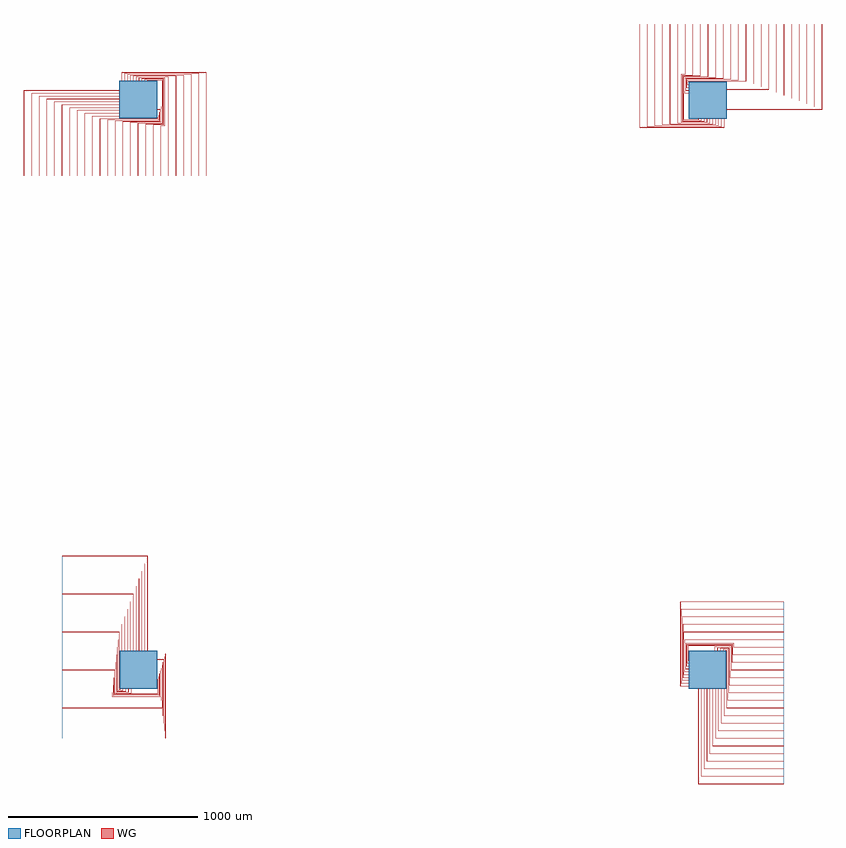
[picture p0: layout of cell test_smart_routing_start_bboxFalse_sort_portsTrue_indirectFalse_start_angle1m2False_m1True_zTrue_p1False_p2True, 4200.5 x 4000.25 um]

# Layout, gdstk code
import gdstk
lib = gdstk.Library(unit=1e-6, precision=1e-09)
def R(c, l, rs):  # rectangles x0, y0, x1, y1
    for r in rs: c.add(gdstk.rectangle(r[:2], r[2:], *l))
def P(c, l, *ps):  # polygons
    for p in ps: c.add(gdstk.Polygon(p, *l))
WG = (1, 0)
FLOORPLAN = (10, 0)

test_smart_routing_start = lib.new_cell('test_smart_routing_start_bboxFalse_sort_portsTrue_indirectFalse_start_angle1m2False_m1True_zTrue_p1False_p2True')
P(test_smart_routing_start, WG, [(-600.25,2600),(-600.25,3050.25),(-100,3050.25),(-100,3049.75),(-599.75,3049.75),(-599.75,2600)],
  [(-560.25,2600),(-560.25,3035.25),(-100,3035.25),(-100,3034.75),(-559.75,3034.75),(-559.75,2600)],
  [(-520.25,2600),(-520.25,3020.25),(-100,3020.25),(-100,3019.75),(-519.75,3019.75),(-519.75,2600)],
  [(-480.25,2600),(-480.25,3005.25),(-100,3005.25),(-100,3004.75),(-479.75,3004.75),(-479.75,2600)],
  [(-440.25,2600),(-440.25,2990.25),(-100,2990.25),(-100,2989.75),(-439.75,2989.75),(-439.75,2600)],
  [(-400.25,2600),(-400.25,2975.25),(-100,2975.25),(-100,2974.75),(-399.75,2974.75),(-399.75,2600)],
  [(-360.25,2600),(-360.25,2960.25),(-100,2960.25),(-100,2959.75),(-359.75,2959.75),(-359.75,2600)],
  [(-320.25,2600),(-320.25,2945.25),(-100,2945.25),(-100,2944.75),(-319.75,2944.75),(-319.75,2600)],
  [(-280.25,2600),(-280.25,2930.25),(-100,2930.25),(-100,2929.75),(-279.75,2929.75),(-279.75,2600)],
  [(-240.25,2600),(-240.25,2915.25),(-100,2915.25),(-100,2914.75),(-239.75,2914.75),(-239.75,2600)],
  [(-200.25,2600),(-200.25,2900.75),(104,2900.75),(104,2904.75),(100,2904.75),(100,2905.25),(104.5,2905.25),(104.5,2900.25),(-199.75,2900.25),(-199.75,2600)],
  [(-160.25,2600),(-160.25,2896.25),(108.5,2896.25),(108.5,2919.75),(100,2919.75),(100,2920.25),(109,2920.25),(109,2895.75),(-159.75,2895.75),(-159.75,2600)],
  [(-120.25,2600),(-120.25,2891.75),(113,2891.75),(113,2934.75),(100,2934.75),(100,2935.25),(113.5,2935.25),(113.5,2891.25),(-119.75,2891.25),(-119.75,2600)],
  [(-80.25,2600),(-80.25,2887.25),(117.5,2887.25),(117.5,2949.75),(100,2949.75),(100,2950.25),(118,2950.25),(118,2886.75),(-79.75,2886.75),(-79.75,2600)],
  [(-40.25,2600),(-40.25,2882.75),(122,2882.75),(122,2964.75),(100,2964.75),(100,2965.25),(122.5,2965.25),(122.5,2882.25),(-39.75,2882.25),(-39.75,2600)],
  [(-0.25,2600),(-0.25,2878.25),(126.5,2878.25),(126.5,3104),(50.25,3104),(50.25,3100),(49.75,3100),(49.75,3104.5),(127,3104.5),(127,2877.75),(0.25,2877.75),(0.25,2600)],
  [(39.75,2600),(39.75,2873.75),(131,2873.75),(131,3108.5),(35.25,3108.5),(35.25,3100),(34.75,3100),(34.75,3109),(131.5,3109),(131.5,2873.25),(40.25,2873.25),(40.25,2600)],
  [(79.75,2600),(79.75,2869.25),(135.5,2869.25),(135.5,3113),(20.25,3113),(20.25,3100),(19.75,3100),(19.75,3113.5),(136,3113.5),(136,2868.75),(80.25,2868.75),(80.25,2600)],
  [(119.75,2600),(119.75,2864.75),(140,2864.75),(140,3117.5),(5.25,3117.5),(5.25,3100),(4.75,3100),(4.75,3118),(140.5,3118),(140.5,2864.25),(120.25,2864.25),(120.25,2600)],
  [(159.75,2600),(159.75,3122),(-9.75,3122),(-9.75,3100),(-10.25,3100),(-10.25,3122.5),(160.25,3122.5),(160.25,2600)],
  [(199.75,2600),(199.75,3126.5),(-24.75,3126.5),(-24.75,3100),(-25.25,3100),(-25.25,3127),(200.25,3127),(200.25,2600)],
  [(239.75,2600),(239.75,3131),(-39.75,3131),(-39.75,3100),(-40.25,3100),(-40.25,3131.5),(240.25,3131.5),(240.25,2600)],
  [(279.75,2600),(279.75,3135.5),(-54.75,3135.5),(-54.75,3100),(-55.25,3100),(-55.25,3136),(280.25,3136),(280.25,2600)],
  [(319.75,2600),(319.75,3140),(-69.75,3140),(-69.75,3100),(-70.25,3100),(-70.25,3140.5),(320.25,3140.5),(320.25,2600)],
  [(359.75,2600),(359.75,3144.5),(-84.75,3144.5),(-84.75,3100),(-85.25,3100),(-85.25,3145),(360.25,3145),(360.25,2600)],
  [(49.75,100),(49.75,599.75),(-400,599.75),(-400,600.25),(50.25,600.25),(50.25,100)],
  [(34.75,100),(34.75,559.75),(-400,559.75),(-400,560.25),(35.25,560.25),(35.25,100)],
  [(19.75,100),(19.75,519.75),(-400,519.75),(-400,520.25),(20.25,520.25),(20.25,100)],
  [(4.75,100),(4.75,479.75),(-400,479.75),(-400,480.25),(5.25,480.25),(5.25,100)],
  [(-10.25,100),(-10.25,439.75),(-400,439.75),(-400,440.25),(-9.75,440.25),(-9.75,100)],
  [(-25.25,100),(-25.25,399.75),(-400,399.75),(-400,400.25),(-24.75,400.25),(-24.75,100)],
  [(-40.25,100),(-40.25,359.75),(-400,359.75),(-400,360.25),(-39.75,360.25),(-39.75,100)],
  [(-55.25,100),(-55.25,319.75),(-400,319.75),(-400,320.25),(-54.75,320.25),(-54.75,100)],
  [(-70.25,100),(-70.25,279.75),(-400,279.75),(-400,280.25),(-69.75,280.25),(-69.75,100)],
  [(-85.25,100),(-85.25,239.75),(-400,239.75),(-400,240.25),(-84.75,240.25),(-84.75,100)],
  [(-99.75,-104.5),(-99.75,199.75),(-400,199.75),(-400,200.25),(-99.25,200.25),(-99.25,-104),(-95.25,-104),(-95.25,-100),(-94.75,-100),(-94.75,-104.5)],
  [(-104.25,-109),(-104.25,159.75),(-400,159.75),(-400,160.25),(-103.75,160.25),(-103.75,-108.5),(-80.25,-108.5),(-80.25,-100),(-79.75,-100),(-79.75,-109)],
  [(-108.75,-113.5),(-108.75,119.75),(-400,119.75),(-400,120.25),(-108.25,120.25),(-108.25,-113),(-65.25,-113),(-65.25,-100),(-64.75,-100),(-64.75,-113.5)],
  [(-113.25,-118),(-113.25,79.75),(-400,79.75),(-400,80.25),(-112.75,80.25),(-112.75,-117.5),(-50.25,-117.5),(-50.25,-100),(-49.75,-100),(-49.75,-118)],
  [(-117.75,-122.5),(-117.75,39.75),(-400,39.75),(-400,40.25),(-117.25,40.25),(-117.25,-122),(-35.25,-122),(-35.25,-100),(-34.75,-100),(-34.75,-122.5)],
  [(-122.25,-127),(-122.25,-0.25),(-400,-0.25),(-400,0.25),(-121.75,0.25),(-121.75,-126.5),(104,-126.5),(104,-50.25),(100,-50.25),(100,-49.75),(104.5,-49.75),(104.5,-127)],
  [(-126.75,-131.5),(-126.75,-40.25),(-400,-40.25),(-400,-39.75),(-126.25,-39.75),(-126.25,-131),(108.5,-131),(108.5,-35.25),(100,-35.25),(100,-34.75),(109,-34.75),(109,-131.5)],
  [(-131.25,-136),(-131.25,-80.25),(-400,-80.25),(-400,-79.75),(-130.75,-79.75),(-130.75,-135.5),(113,-135.5),(113,-20.25),(100,-20.25),(100,-19.75),(113.5,-19.75),(113.5,-136)],
  [(-135.75,-140.5),(-135.75,-120.25),(-400,-120.25),(-400,-119.75),(-135.25,-119.75),(-135.25,-140),(117.5,-140),(117.5,-5.25),(100,-5.25),(100,-4.75),(118,-4.75),(118,-140.5)],
  [(-400,-160.25),(-400,-159.75),(122,-159.75),(122,9.75),(100,9.75),(100,10.25),(122.5,10.25),(122.5,-160.25)],
  [(-400,-200.25),(-400,-199.75),(126.5,-199.75),(126.5,24.75),(100,24.75),(100,25.25),(127,25.25),(127,-200.25)],
  [(-400,-240.25),(-400,-239.75),(131,-239.75),(131,39.75),(100,39.75),(100,40.25),(131.5,40.25),(131.5,-240.25)],
  [(-400,-280.25),(-400,-279.75),(135.5,-279.75),(135.5,54.75),(100,54.75),(100,55.25),(136,55.25),(136,-280.25)],
  [(-400,-320.25),(-400,-319.75),(140,-319.75),(140,69.75),(100,69.75),(100,70.25),(140.5,70.25),(140.5,-320.25)],
  [(-400,-360.25),(-400,-359.75),(144.5,-359.75),(144.5,84.75),(100,84.75),(100,85.25),(145,85.25),(145,-360.25)],
  [(2949.75,-600.25),(2949.75,-100),(2950.25,-100),(2950.25,-599.75),(3400,-599.75),(3400,-600.25)],
  [(2964.75,-560.25),(2964.75,-100),(2965.25,-100),(2965.25,-559.75),(3400,-559.75),(3400,-560.25)],
  [(2979.75,-520.25),(2979.75,-100),(2980.25,-100),(2980.25,-519.75),(3400,-519.75),(3400,-520.25)],
  [(2994.75,-480.25),(2994.75,-100),(2995.25,-100),(2995.25,-479.75),(3400,-479.75),(3400,-480.25)],
  [(3009.75,-440.25),(3009.75,-100),(3010.25,-100),(3010.25,-439.75),(3400,-439.75),(3400,-440.25)],
  [(3024.75,-400.25),(3024.75,-100),(3025.25,-100),(3025.25,-399.75),(3400,-399.75),(3400,-400.25)],
  [(3039.75,-360.25),(3039.75,-100),(3040.25,-100),(3040.25,-359.75),(3400,-359.75),(3400,-360.25)],
  [(3054.75,-320.25),(3054.75,-100),(3055.25,-100),(3055.25,-319.75),(3400,-319.75),(3400,-320.25)],
  [(3069.75,-280.25),(3069.75,-100),(3070.25,-100),(3070.25,-279.75),(3400,-279.75),(3400,-280.25)],
  [(3084.75,-240.25),(3084.75,-100),(3085.25,-100),(3085.25,-239.75),(3400,-239.75),(3400,-240.25)],
  [(3099.25,-200.25),(3099.25,104),(3095.25,104),(3095.25,100),(3094.75,100),(3094.75,104.5),(3099.75,104.5),(3099.75,-199.75),(3400,-199.75),(3400,-200.25)],
  [(3103.75,-160.25),(3103.75,108.5),(3080.25,108.5),(3080.25,100),(3079.75,100),(3079.75,109),(3104.25,109),(3104.25,-159.75),(3400,-159.75),(3400,-160.25)],
  [(3108.25,-120.25),(3108.25,113),(3065.25,113),(3065.25,100),(3064.75,100),(3064.75,113.5),(3108.75,113.5),(3108.75,-119.75),(3400,-119.75),(3400,-120.25)],
  [(3112.75,-80.25),(3112.75,117.5),(3050.25,117.5),(3050.25,100),(3049.75,100),(3049.75,118),(3113.25,118),(3113.25,-79.75),(3400,-79.75),(3400,-80.25)],
  [(3117.25,-40.25),(3117.25,122),(3035.25,122),(3035.25,100),(3034.75,100),(3034.75,122.5),(3117.75,122.5),(3117.75,-39.75),(3400,-39.75),(3400,-40.25)],
  [(3121.75,-0.25),(3121.75,126.5),(2896,126.5),(2896,50.25),(2900,50.25),(2900,49.75),(2895.5,49.75),(2895.5,127),(3122.25,127),(3122.25,0.25),(3400,0.25),(3400,-0.25)],
  [(2891,34.75),(2891,131.5),(3126.75,131.5),(3126.75,40.25),(3400,40.25),(3400,39.75),(3126.25,39.75),(3126.25,131),(2891.5,131),(2891.5,35.25),(2900,35.25),(2900,34.75)],
  [(2886.5,19.75),(2886.5,136),(3131.25,136),(3131.25,80.25),(3400,80.25),(3400,79.75),(3130.75,79.75),(3130.75,135.5),(2887,135.5),(2887,20.25),(2900,20.25),(2900,19.75)],
  [(2882,4.75),(2882,140.5),(3135.75,140.5),(3135.75,120.25),(3400,120.25),(3400,119.75),(3135.25,119.75),(3135.25,140),(2882.5,140),(2882.5,5.25),(2900,5.25),(2900,4.75)],
  [(2877.5,-10.25),(2877.5,160.25),(3400,160.25),(3400,159.75),(2878,159.75),(2878,-9.75),(2900,-9.75),(2900,-10.25)],
  [(2873,-25.25),(2873,200.25),(3400,200.25),(3400,199.75),(2873.5,199.75),(2873.5,-24.75),(2900,-24.75),(2900,-25.25)],
  [(2868.5,-40.25),(2868.5,240.25),(3400,240.25),(3400,239.75),(2869,239.75),(2869,-39.75),(2900,-39.75),(2900,-40.25)],
  [(2864,-55.25),(2864,280.25),(3400,280.25),(3400,279.75),(2864.5,279.75),(2864.5,-54.75),(2900,-54.75),(2900,-55.25)],
  [(2859.5,-70.25),(2859.5,320.25),(3400,320.25),(3400,319.75),(2860,319.75),(2860,-69.75),(2900,-69.75),(2900,-70.25)],
  [(2855,-85.25),(2855,360.25),(3400,360.25),(3400,359.75),(2855.5,359.75),(2855.5,-84.75),(2900,-84.75),(2900,-85.25)],
  [(3100,2949.75),(3100,2950.25),(3599.75,2950.25),(3599.75,3400),(3600.25,3400),(3600.25,2949.75)],
  [(3100,2964.75),(3100,2965.25),(3559.75,2965.25),(3559.75,3400),(3560.25,3400),(3560.25,2964.75)],
  [(3100,2979.75),(3100,2980.25),(3519.75,2980.25),(3519.75,3400),(3520.25,3400),(3520.25,2979.75)],
  [(3100,2994.75),(3100,2995.25),(3479.75,2995.25),(3479.75,3400),(3480.25,3400),(3480.25,2994.75)],
  [(3100,3009.75),(3100,3010.25),(3439.75,3010.25),(3439.75,3400),(3440.25,3400),(3440.25,3009.75)],
  [(3100,3024.75),(3100,3025.25),(3399.75,3025.25),(3399.75,3400),(3400.25,3400),(3400.25,3024.75)],
  [(3100,3039.75),(3100,3040.25),(3359.75,3040.25),(3359.75,3400),(3360.25,3400),(3360.25,3039.75)],
  [(3100,3054.75),(3100,3055.25),(3319.75,3055.25),(3319.75,3400),(3320.25,3400),(3320.25,3054.75)],
  [(3100,3069.75),(3100,3070.25),(3279.75,3070.25),(3279.75,3400),(3280.25,3400),(3280.25,3069.75)],
  [(3100,3084.75),(3100,3085.25),(3239.75,3085.25),(3239.75,3400),(3240.25,3400),(3240.25,3084.75)],
  [(2895.5,3094.75),(2895.5,3099.75),(3199.75,3099.75),(3199.75,3400),(3200.25,3400),(3200.25,3099.25),(2896,3099.25),(2896,3095.25),(2900,3095.25),(2900,3094.75)],
  [(2891,3079.75),(2891,3104.25),(3159.75,3104.25),(3159.75,3400),(3160.25,3400),(3160.25,3103.75),(2891.5,3103.75),(2891.5,3080.25),(2900,3080.25),(2900,3079.75)],
  [(2886.5,3064.75),(2886.5,3108.75),(3119.75,3108.75),(3119.75,3400),(3120.25,3400),(3120.25,3108.25),(2887,3108.25),(2887,3065.25),(2900,3065.25),(2900,3064.75)],
  [(2882,3049.75),(2882,3113.25),(3079.75,3113.25),(3079.75,3400),(3080.25,3400),(3080.25,3112.75),(2882.5,3112.75),(2882.5,3050.25),(2900,3050.25),(2900,3049.75)],
  [(2877.5,3034.75),(2877.5,3117.75),(3039.75,3117.75),(3039.75,3400),(3040.25,3400),(3040.25,3117.25),(2878,3117.25),(2878,3035.25),(2900,3035.25),(2900,3034.75)],
  [(2873,2895.5),(2873,3122.25),(2999.75,3122.25),(2999.75,3400),(3000.25,3400),(3000.25,3121.75),(2873.5,3121.75),(2873.5,2896),(2949.75,2896),(2949.75,2900),(2950.25,2900),(2950.25,2895.5)],
  [(2868.5,2891),(2868.5,3126.75),(2959.75,3126.75),(2959.75,3400),(2960.25,3400),(2960.25,3126.25),(2869,3126.25),(2869,2891.5),(2964.75,2891.5),(2964.75,2900),(2965.25,2900),(2965.25,2891)],
  [(2864,2886.5),(2864,3131.25),(2919.75,3131.25),(2919.75,3400),(2920.25,3400),(2920.25,3130.75),(2864.5,3130.75),(2864.5,2887),(2979.75,2887),(2979.75,2900),(2980.25,2900),(2980.25,2886.5)],
  [(2859.5,2882),(2859.5,3135.75),(2879.75,3135.75),(2879.75,3400),(2880.25,3400),(2880.25,3135.25),(2860,3135.25),(2860,2882.5),(2994.75,2882.5),(2994.75,2900),(2995.25,2900),(2995.25,2882)],
  [(2839.75,2877.5),(2839.75,3400),(2840.25,3400),(2840.25,2878),(3009.75,2878),(3009.75,2900),(3010.25,2900),(3010.25,2877.5)],
  [(2799.75,2873),(2799.75,3400),(2800.25,3400),(2800.25,2873.5),(3024.75,2873.5),(3024.75,2900),(3025.25,2900),(3025.25,2873)],
  [(2759.75,2868.5),(2759.75,3400),(2760.25,3400),(2760.25,2869),(3039.75,2869),(3039.75,2900),(3040.25,2900),(3040.25,2868.5)],
  [(2719.75,2864),(2719.75,3400),(2720.25,3400),(2720.25,2864.5),(3054.75,2864.5),(3054.75,2900),(3055.25,2900),(3055.25,2864)],
  [(2679.75,2859.5),(2679.75,3400),(2680.25,3400),(2680.25,2860),(3069.75,2860),(3069.75,2900),(3070.25,2900),(3070.25,2859.5)],
  [(2639.75,2855),(2639.75,3400),(2640.25,3400),(2640.25,2855.5),(3084.75,2855.5),(3084.75,2900),(3085.25,2900),(3085.25,2855)])
R(test_smart_routing_start, FLOORPLAN, [(-95,-100,100,100), (2900,-100,3095,100), (2900,2900,3100,3095), (-100,2905,100,3100)])
P(test_smart_routing_start, FLOORPLAN, [(-400,-360),(-400,600),(-400,600),(-400,-360)],
  [(-600,2600),(-600,2600),(360,2600),(360,2600)],
  [(3400,-600),(3400,360),(3400,360),(3400,-600)],
  [(2640,3400),(2640,3400),(3600,3400),(3600,3400)])

lib.write_gds('test_smart_routing_start_bboxFalse_sort_portsTrue_indirectFalse_start_angle1m2False_m1True_zTrue_p1False_p2True.gds')
